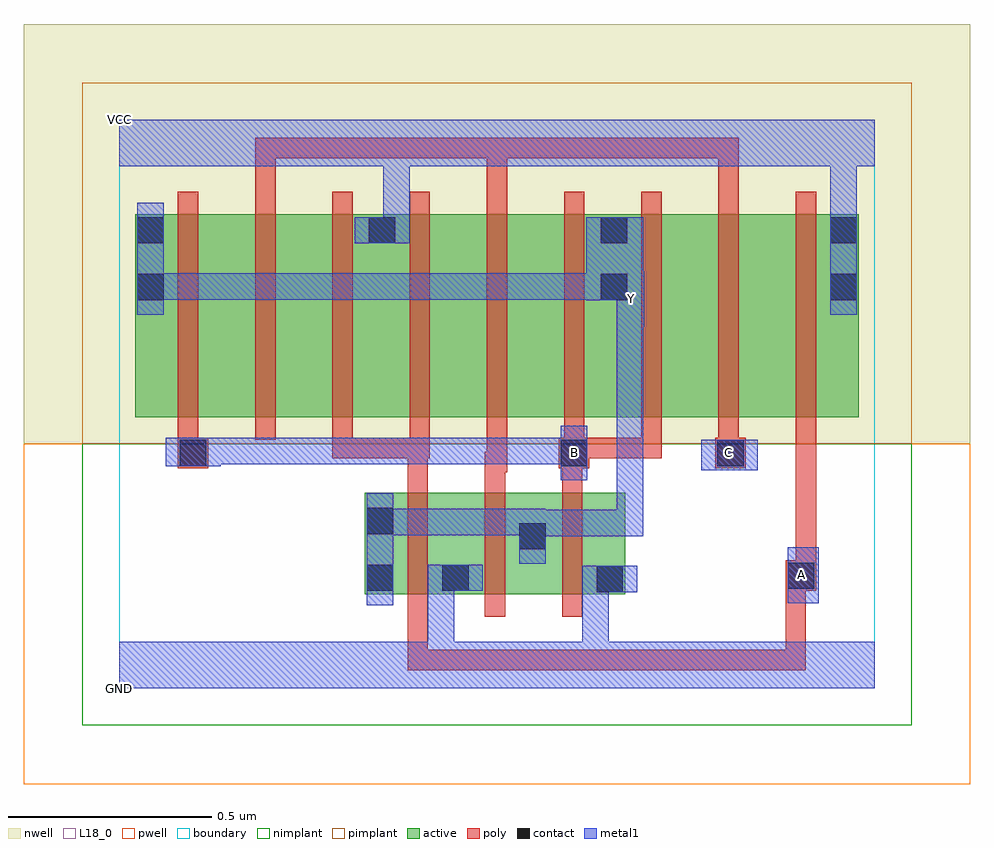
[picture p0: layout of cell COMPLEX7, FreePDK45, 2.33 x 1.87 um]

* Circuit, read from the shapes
.subckt COMPLEX7 A B C GND VCC Y
M1 GND A Y VSUBS nfet w=0.25u l=0.05u
M2 Y C GND VSUBS nfet w=0.25u l=0.05u
M3 GND B Y VSUBS nfet w=0.25u l=0.05u
M4 n1 B Y n2 pfet w=0.5u l=0.05u
M5 n3 C n1 n2 pfet w=0.5u l=0.05u
M6 VCC A n3 n2 pfet w=0.5u l=0.05u
M7 n4 A VCC n2 pfet w=0.5u l=0.05u
M8 n5 C n4 n2 pfet w=0.5u l=0.05u
M9 Y B n5 n2 pfet w=0.5u l=0.05u
M10 n6 B Y n2 pfet w=0.5u l=0.05u
M11 n7 C n6 n2 pfet w=0.5u l=0.05u
M12 VCC A n7 n2 pfet w=0.5u l=0.05u
.ends

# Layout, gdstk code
import gdstk
lib = gdstk.Library(unit=1e-6, precision=1e-09)
def R(c, l, rs):  # rectangles x0, y0, x1, y1
    for r in rs: c.add(gdstk.rectangle(r[:2], r[2:], *l))
def A(c, l, x, y, w, h, nx, ny, dx, dy):  # array of equal rectangles
    R(c, l, [(x+i*dx, y+j*dy, x+i*dx+w, y+j*dy+h) for i in range(nx) for j in range(ny)])
active = (1, 0)
pwell = (2, 0)
nwell = (3, 0)
nimplant = (4, 0)
pimplant = (5, 0)
poly = (9, 0)
contact = (10, 0)
metal1 = (11, 0)
L18_0 = (18, 0)
boundary = (235, 0)

complex7 = lib.new_cell('COMPLEX7')
A(complex7, active, 0.04, 0.667, 0.225, 0.5, 3, 1, 0.57, 0)
A(complex7, active, 0.265, 0.667, 0.19, 0.5, 3, 1, 0.57, 0)
R(complex7, active, [(0.605,0.232,0.68,0.482), (0.605,0.232,0.865,0.482), (0.79,0.232,1.055,0.482), (0.79,0.232,0.865,0.387), (0.98,0.232,1.245,0.482), (0.98,0.232,1.055,0.467), (1.17,0.232,1.245,0.482), (0.04,0.667,0.115,1.165), (0.455,0.667,0.685,1.167), (0.61,0.667,0.685,1.167), (1.025,0.667,1.255,1.167), (1.18,0.667,1.255,1.167), (1.595,0.667,1.82,1.167), (1.745,0.667,1.82,1.167)])
R(complex7, pwell, [(-0.235,-0.235,2.095,0.602)])
R(complex7, nwell, [(-0.235,0.602,2.095,1.635)])
R(complex7, nimplant, [(-0.09,-0.09,1.95,0.602)])
R(complex7, pimplant, [(-0.09,0.602,1.95,1.49)])
A(complex7, poly, 0.71, 0.177, 0.05, 0.36, 3, 1, 0.19, 0)
A(complex7, poly, 1.095, 0.567, 0.05, 0.095, 3, 1, 0.19, 0)
A(complex7, poly, 0.145, 0.612, 0.05, 0.61, 9, 1, 0.19, 0)
A(complex7, poly, 0.335, 1.172, 0.05, 0.183, 3, 1, 0.57, 0)
R(complex7, poly, [(0.71,0.045,0.76,0.095), (0.71,0.045,0.76,0.095), (0.71,0.045,0.76,0.095), (0.71,0.045,0.897,0.095), (0.71,0.045,0.76,0.227), (0.847,0.045,0.897,0.095), (0.847,0.045,0.897,0.095), (0.847,0.045,0.897,0.095), (0.847,0.045,1.087,0.095), (1.037,0.045,1.087,0.095), (1.037,0.045,1.087,0.095), (1.037,0.045,1.087,0.095), (1.037,0.045,1.335,0.095), (1.285,0.045,1.335,0.095), (1.285,0.045,1.467,0.095), (1.417,0.045,1.467,0.095), (1.417,0.045,1.467,0.095), (1.417,0.045,1.467,0.095), (1.417,0.045,1.69,0.095), (1.64,0.045,1.69,0.095), (1.64,0.045,1.69,0.095), (1.64,0.045,1.69,0.095), (1.64,0.045,1.69,0.095), (1.64,0.045,1.69,0.095), (1.64,0.045,1.69,0.29), (1.64,0.24,1.69,0.29), (1.64,0.24,1.69,0.29), (1.64,0.24,1.715,0.315), (1.665,0.265,1.715,0.662), (0.71,0.487,0.76,0.617), (0.9,0.487,0.95,0.582), (1.09,0.487,1.14,0.592), (0.9,0.532,0.955,0.582), (0.905,0.532,0.955,0.662), (0.145,0.542,0.22,0.617), (1.082,0.542,1.157,0.617), (1.467,0.542,1.542,0.617), (0.145,0.567,0.195,0.662), (0.525,0.567,0.575,0.617), (0.525,0.567,0.575,0.617), (0.525,0.567,0.575,0.617), (0.525,0.567,0.575,0.662), (0.525,0.567,0.76,0.617), (0.71,0.567,0.765,0.617), (0.715,0.567,0.765,0.662), (1.107,0.567,1.157,0.617), (1.107,0.567,1.157,0.617), (1.107,0.567,1.335,0.617), (1.285,0.567,1.335,0.617), (0.335,1.305,0.385,1.355), (0.335,1.305,0.385,1.355), (0.335,1.305,0.385,1.355), (0.335,1.305,0.555,1.355), (0.505,1.305,0.555,1.355), (0.505,1.305,0.555,1.355), (0.505,1.305,0.555,1.355), (0.505,1.305,0.707,1.355), (0.657,1.305,0.707,1.355), (0.657,1.305,0.707,1.355), (0.657,1.305,0.707,1.355), (0.657,1.305,0.955,1.355), (0.905,1.305,0.955,1.355), (0.905,1.305,0.955,1.355), (0.905,1.305,0.955,1.355), (0.905,1.305,1.087,1.355), (1.037,1.305,1.087,1.355), (1.037,1.305,1.29,1.355), (1.24,1.305,1.29,1.355), (1.24,1.305,1.29,1.355), (1.24,1.305,1.29,1.355), (1.24,1.305,1.525,1.355), (1.475,1.305,1.525,1.355), (1.475,1.305,1.525,1.355), (1.475,1.305,1.525,1.355)])
A(complex7, contact, 0.045, 1.095, 0.065, 0.065, 3, 1, 0.57, 0)
R(complex7, contact, [(1.175,0.237,1.24,0.302), (0.61,0.24,0.675,0.305), (0.795,0.24,0.86,0.305), (1.645,0.245,1.71,0.31), (0.985,0.342,1.05,0.407), (0.61,0.38,0.675,0.445), (0.15,0.547,0.215,0.612), (1.087,0.547,1.152,0.612), (1.472,0.547,1.537,0.612), (0.045,0.955,0.11,1.02), (1.185,0.955,1.25,1.02), (1.75,0.955,1.815,1.02), (1.75,1.095,1.815,1.16)])
R(complex7, metal1, [(0,0,1.86,0.115), (0.76,0.05,0.825,0.115), (0.76,0.05,0.825,0.115), (0.76,0.05,0.825,0.115), (0.76,0.05,0.825,0.115), (0.76,0.05,0.825,0.305), (1.14,0.05,1.205,0.115), (1.14,0.05,1.205,0.115), (1.14,0.05,1.205,0.302), (0.61,0.205,0.675,0.48), (1.645,0.21,1.722,0.347), (1.14,0.237,1.205,0.302), (1.14,0.237,1.205,0.302), (1.14,0.237,1.275,0.302), (0.76,0.24,0.895,0.305), (0.985,0.307,1.05,0.442), (0.985,0.375,1.29,0.44), (1.225,0.375,1.29,0.44), (1.225,0.375,1.29,0.44), (1.225,0.375,1.29,0.44), (1.225,0.375,1.29,0.955), (0.61,0.377,0.775,0.442), (0.71,0.377,0.775,0.442), (0.71,0.377,0.912,0.442), (0.847,0.377,0.912,0.442), (0.847,0.377,0.912,0.442), (0.847,0.377,0.912,0.442), (0.847,0.377,1.05,0.442), (1.087,0.512,1.152,0.647), (1.432,0.537,1.572,0.612), (0.115,0.547,0.25,0.617), (0.185,0.552,0.25,0.617), (0.185,0.552,0.25,0.617), (0.185,0.552,0.387,0.617), (0.322,0.552,0.387,0.617), (0.322,0.552,0.387,0.617), (0.322,0.552,0.387,0.617), (0.322,0.552,0.62,0.617), (0.555,0.552,0.62,0.617), (0.555,0.552,0.62,0.617), (0.555,0.552,0.62,0.617), (0.555,0.552,0.775,0.617), (0.71,0.552,0.775,0.617), (0.71,0.552,0.812,0.617), (0.747,0.552,0.812,0.617), (0.747,0.552,0.912,0.617), (0.847,0.552,0.912,0.617), (0.847,0.552,1.05,0.617), (0.985,0.552,1.05,0.617), (0.985,0.552,1.152,0.617), (1.225,0.89,1.292,1.027), (0.045,0.92,0.11,1.195), (1.75,0.92,1.815,1.195), (1.15,0.955,1.29,1.16), (1.225,0.955,1.29,1.02), (0.045,0.957,0.11,1.022), (0.045,0.957,0.11,1.022), (0.045,0.957,0.247,1.022), (0.182,0.957,0.247,1.022), (0.182,0.957,0.482,1.022), (0.417,0.957,0.482,1.022), (0.417,0.957,0.482,1.022), (0.417,0.957,0.482,1.022), (0.417,0.957,0.62,1.022), (0.555,0.957,0.62,1.022), (0.555,0.957,0.62,1.022), (0.555,0.957,0.62,1.022), (0.555,0.957,0.757,1.022), (0.692,0.957,0.757,1.022), (0.692,0.957,0.912,1.022), (0.847,0.957,0.912,1.022), (0.847,0.957,0.912,1.022), (0.847,0.957,0.912,1.022), (0.847,0.957,1.05,1.022), (0.985,0.957,1.05,1.022), (0.985,0.957,1.215,1.022), (1.15,0.957,1.215,1.022), (1.15,0.957,1.215,1.022), (0.58,1.095,0.715,1.16), (0.65,1.095,0.715,1.35), (1.75,1.13,1.815,1.35), (0,1.285,1.86,1.4), (0.65,1.285,0.715,1.35), (0.65,1.285,0.715,1.35), (1.75,1.285,1.815,1.35), (1.75,1.285,1.815,1.35)])
R(complex7, L18_0, [(0,0,1.86,0.115), (0.76,0.05,0.825,0.115), (0.76,0.05,0.825,0.115), (0.76,0.05,0.825,0.115), (0.76,0.05,0.825,0.115), (0.76,0.05,0.825,0.305), (1.14,0.05,1.205,0.115), (1.14,0.05,1.205,0.115), (1.14,0.05,1.205,0.302), (0.61,0.205,0.675,0.48), (1.645,0.21,1.722,0.347), (1.14,0.237,1.205,0.302), (1.14,0.237,1.205,0.302), (1.14,0.237,1.275,0.302), (0.76,0.24,0.895,0.305), (1.647,0.247,1.712,0.312), (0.985,0.307,1.05,0.442), (0.985,0.375,1.29,0.44), (1.225,0.375,1.29,0.44), (1.225,0.375,1.29,0.44), (1.225,0.375,1.29,0.44), (1.225,0.375,1.29,0.955), (0.61,0.377,0.775,0.442), (0.71,0.377,0.775,0.442), (0.71,0.377,0.912,0.442), (0.847,0.377,0.912,0.442), (0.847,0.377,0.912,0.442), (0.847,0.377,0.912,0.442), (0.847,0.377,1.05,0.442), (1.087,0.512,1.152,0.647), (1.432,0.537,1.572,0.612), (0.115,0.547,0.25,0.617), (1.087,0.547,1.152,0.612), (1.467,0.547,1.532,0.612), (0.185,0.552,0.25,0.617), (0.185,0.552,0.25,0.617), (0.185,0.552,0.387,0.617), (0.322,0.552,0.387,0.617), (0.322,0.552,0.387,0.617), (0.322,0.552,0.387,0.617), (0.322,0.552,0.62,0.617), (0.555,0.552,0.62,0.617), (0.555,0.552,0.62,0.617), (0.555,0.552,0.62,0.617), (0.555,0.552,0.775,0.617), (0.71,0.552,0.775,0.617), (0.71,0.552,0.812,0.617), (0.747,0.552,0.812,0.617), (0.747,0.552,0.912,0.617), (0.847,0.552,0.912,0.617), (0.847,0.552,1.05,0.617), (0.985,0.552,1.05,0.617), (0.985,0.552,1.152,0.617), (1.225,0.89,1.292,1.027), (0.045,0.92,0.11,1.195), (1.75,0.92,1.815,1.195), (1.227,0.927,1.292,0.992), (1.15,0.955,1.29,1.16), (1.225,0.955,1.29,1.02), (0.045,0.957,0.11,1.022), (0.045,0.957,0.11,1.022), (0.045,0.957,0.247,1.022), (0.182,0.957,0.247,1.022), (0.182,0.957,0.482,1.022), (0.417,0.957,0.482,1.022), (0.417,0.957,0.482,1.022), (0.417,0.957,0.482,1.022), (0.417,0.957,0.62,1.022), (0.555,0.957,0.62,1.022), (0.555,0.957,0.62,1.022), (0.555,0.957,0.62,1.022), (0.555,0.957,0.757,1.022), (0.692,0.957,0.757,1.022), (0.692,0.957,0.912,1.022), (0.847,0.957,0.912,1.022), (0.847,0.957,0.912,1.022), (0.847,0.957,0.912,1.022), (0.847,0.957,1.05,1.022), (0.985,0.957,1.05,1.022), (0.985,0.957,1.215,1.022), (1.15,0.957,1.215,1.022), (1.15,0.957,1.215,1.022), (0.58,1.095,0.715,1.16), (0.65,1.095,0.715,1.35), (1.75,1.13,1.815,1.35), (0,1.285,1.86,1.4), (0.65,1.285,0.715,1.35), (0.65,1.285,0.715,1.35), (1.75,1.285,1.815,1.35), (1.75,1.285,1.815,1.35)])
R(complex7, boundary, [(0,0,1.86,1.4)])
complex7.add(gdstk.Label('A', (1.68,0.28), layer=11, texttype=0))
complex7.add(gdstk.Label('B', (1.12,0.58), layer=11, texttype=0))
complex7.add(gdstk.Label('C', (1.5,0.58), layer=11, texttype=0))
complex7.add(gdstk.Label('Y', (1.26,0.96), layer=11, texttype=0))
complex7.add(gdstk.Label('VCC', (0,1.4), layer=11, texttype=0))
complex7.add(gdstk.Label('GND', (0,0), layer=11, texttype=0))

lib.write_gds('COMPLEX7.gds')
